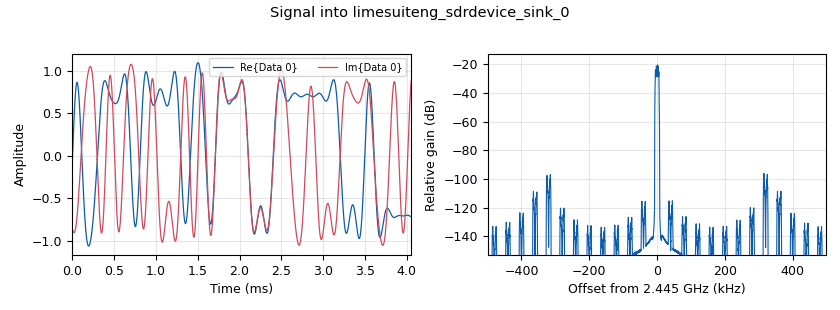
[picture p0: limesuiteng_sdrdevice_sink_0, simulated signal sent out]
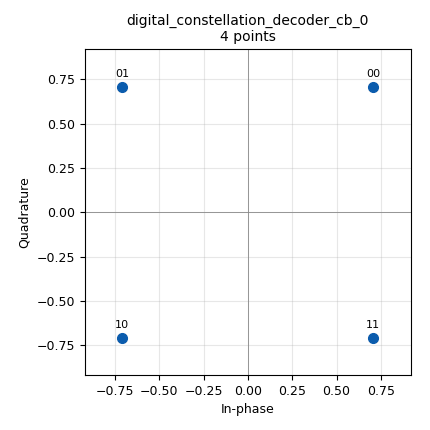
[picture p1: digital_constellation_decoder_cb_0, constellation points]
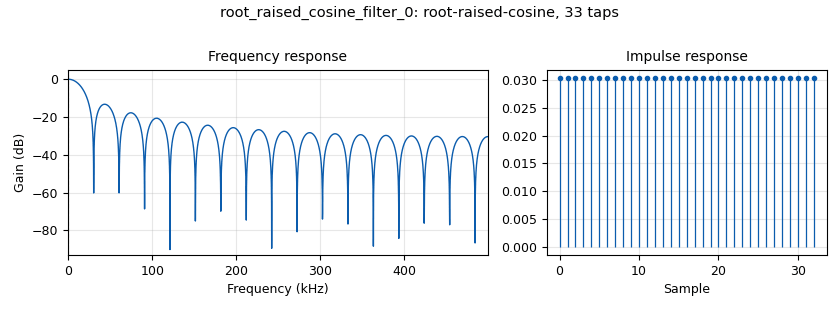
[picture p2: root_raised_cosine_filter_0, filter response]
options:
  parameters:
    generate_options: qt_gui
    id: top_block
    output_language: python
  states: {}

blocks:
- name: alpha
  id: variable_qtgui_range
  parameters:
    comment: 0,1,1,1
    gui_hint: 8,1,1,1
    label: RRC alpha
    start: '0'
    step: '0.0001'
    stop: '2'
    value: '0.35'
  states: {}
- name: center_freq
  id: variable_qtgui_range
  parameters:
    gui_hint: 2,0,1,1
    label: Center Frequency
    start: 2.438e9
    step: '1000'
    stop: 2.450e9
    value: 2.445e9
  states: {}
- name: decimation
  id: variable_qtgui_range
  parameters:
    comment: 0,2,1,1
    gui_hint: 9,1,1,1
    label: RRC Decimation
    rangeType: int
    start: '1'
    step: '1'
    stop: '8'
    value: '1'
  states: {}
- name: delay
  id: variable_qtgui_range
  parameters:
    comment: 0,3,1,1
    gui_hint: 5,1,1,1
    label: Delay
    rangeType: int
    start: '0'
    step: '1'
    stop: '10000'
    value: '12'
  states: {}
- name: eb
  id: variable
  parameters:
    value: '0.25'
  states: {}
- name: excess_bw
  id: variable
  parameters:
    value: '0.35'
  states: {}
- name: freq_offset
  id: variable_qtgui_range
  parameters:
    comment: 0,2,1,1
    gui_hint: 4,1,1,1
    label: 'Channel: Frequency Offset'
    start: '-0.1'
    step: '0.001'
    stop: '0.1'
    value: '0'
  states: {}
- name: fsk_deviation_hz
  id: variable
  parameters:
    value: 100e3
  states: {}
- name: nfilts
  id: variable
  parameters:
    value: '32'
  states: {}
- name: noise_volt
  id: variable_qtgui_range
  parameters:
    comment: 0,0,1,1
    gui_hint: 2,1,1,1
    label: 'Channel: Noise Voltage'
    start: '0'
    step: '0.01'
    stop: '1'
    value: '0.2'
  states: {}
- name: ntaps
  id: variable
  parameters:
    value: '32'
  states: {}
- name: qpsk
  id: variable_constellation_rect
  parameters:
    const_points: '[0.707+0.707j, -0.707+0.707j, -0.707-0.707j, 0.707-0.707j]'
    imag_sect: '2'
    real_sect: '2'
    rot_sym: '4'
    sym_map: '[0, 1, 2, 3]'
    w_imag_sect: '1'
    w_real_sect: '1'
  states: {}
- name: rrc_taps
  id: variable_qtgui_range
  parameters:
    comment: 0,0,1,1
    gui_hint: 7,1,1,1
    label: RRC taps
    rangeType: int
    start: '0'
    step: '1'
    stop: '512'
    value: '32'
  states: {}
- name: rx_gain
  id: variable_qtgui_range
  parameters:
    gui_hint: 5,0,1,1
    label: Rx Gain
    rangeType: int
    start: '0'
    step: '1'
    stop: '60'
    value: '30'
  states: {}
- name: rx_scale
  id: variable_qtgui_range
  parameters:
    comment: 0,3,1,1
    gui_hint: 6,1,1,1
    label: RX Scale
    start: '-50'
    step: '1'
    stop: '50'
    value: '1'
  states: {}
- name: samp_rate
  id: variable
  parameters:
    value: 1e6
  states: {}
- name: signal_bandwidth
  id: variable
  parameters:
    comment: |-
      Adjust this value to set the 
      bandwidth of the signal
    value: 10e3
  states: {}
- name: sps
  id: variable
  parameters:
    value: int(samp_rate/signal_bandwidth)
  states: {}
- name: time_offset
  id: variable_qtgui_range
  parameters:
    comment: 0,1,1,1
    gui_hint: 3,1,1,1
    label: 'Channel: Timing Offset'
    start: '0.999'
    step: '0.0001'
    stop: '1.001'
    value: '1.000'
  states: {}
- name: tone_freq_offset
  id: variable_qtgui_range
  parameters:
    gui_hint: 3,0,1,1
    label: Offset Frequency
    start: '-samp_rate/2'
    step: '200'
    stop: samp_rate/2
    value: '0'
  states: {}
- name: tx_gain
  id: variable_qtgui_range
  parameters:
    gui_hint: 4,0,1,1
    label: Tx Gain
    rangeType: int
    start: '0'
    step: '1'
    stop: '60'
    value: '20'
  states: {}
- name: variable_adaptive_algorithm_0
  id: variable_adaptive_algorithm
  parameters:
    cons: qpsk
    modulus: '4'
    step_size: '.0001'
    type: cma
  states: {}
- name: analog_agc_xx_0
  id: analog_agc_xx
  parameters:
    gain: '1.0'
    max_gain: '65536'
    rate: '50e-6'
    reference: '1.0'
    type: complex
  states: {}
- name: analog_agc_xx_0_0
  id: analog_agc_xx
  parameters:
    gain: '1.0'
    max_gain: '65536'
    rate: '50e-6'
    reference: '1.0'
    type: complex
  states: {}
- name: analog_agc_xx_0_0_0
  id: analog_agc_xx
  parameters:
    gain: '1.0'
    max_gain: '65536'
    rate: '50e-6'
    reference: '1.0'
    type: complex
  states: {}
- name: analog_const_source_x_0
  id: analog_const_source_x
  parameters:
    const: '-83'
    type: byte
  states: {state: disabled}
- name: analog_random_source_x_0
  id: analog_random_source_x
  parameters:
    max: '4'
    min: '0'
    num_samps: '50000'
    repeat: 'True'
    type: byte
  states: {state: disabled}
- name: analog_random_source_x_1
  id: analog_random_source_x
  parameters:
    max: '256'
    min: '0'
    num_samps: '32'
    repeat: 'True'
    type: byte
  states: {}
- name: analog_sig_source_x_0
  id: analog_sig_source_x
  parameters:
    amp: '127'
    freq: 1e3
    offset: '0'
    phase: '0'
    samp_rate: samp_rate
    type: byte
    waveform: analog.GR_COS_WAVE
  states: {state: disabled}
- name: blocks_char_to_float_0_0
  id: blocks_char_to_float
  parameters:
    scale: '1'
  states: {}
- name: blocks_char_to_float_0_0_0
  id: blocks_char_to_float
  parameters:
    scale: '1'
  states: {}
- name: blocks_complex_to_mag_0
  id: blocks_complex_to_mag
  parameters: {}
  states: {}
- name: blocks_complex_to_mag_1
  id: blocks_complex_to_mag
  parameters: {}
  states: {}
- name: blocks_complex_to_mag_1_0
  id: blocks_complex_to_mag
  parameters: {}
  states: {}
- name: blocks_complex_to_mag_1_0_0
  id: blocks_complex_to_mag
  parameters: {}
  states: {}
- name: blocks_complex_to_mag_1_0_0_0
  id: blocks_complex_to_mag
  parameters: {}
  states: {}
- name: blocks_delay_0
  id: blocks_delay
  parameters:
    delay: int(delay)
    type: float
  states: {}
- name: blocks_delay_1
  id: blocks_delay
  parameters:
    delay: delay
    type: complex
  states: {}
- name: blocks_delay_1_0
  id: blocks_delay
  parameters:
    delay: delay
    type: complex
  states: {}
- name: blocks_delay_1_0_0
  id: blocks_delay
  parameters:
    delay: delay
    type: complex
  states: {}
- name: blocks_multiply_const_vxx_0
  id: blocks_multiply_const_vxx
  parameters:
    const: rx_scale
    type: complex
  states: {}
- name: blocks_throttle_0
  id: blocks_throttle
  parameters:
    samples_per_second: samp_rate
    type: byte
  states: {state: bypassed}
- name: blocks_unpack_k_bits_bb_0
  id: blocks_unpack_k_bits_bb
  parameters:
    k: '2'
  states: {}
- name: blocks_unpack_k_bits_bb_0_0
  id: blocks_unpack_k_bits_bb
  parameters:
    k: '8'
  states: {}
- name: channels_channel_model_0
  id: channels_channel_model
  parameters:
    comment: Epsilon is the time offset
    epsilon: time_offset
    freq_offset: freq_offset
    noise_voltage: noise_volt
    seed: '0'
    taps: '1'
  states: {state: disabled}
- name: digital_constellation_decoder_cb_0
  id: digital_constellation_decoder_cb
  parameters:
    constellation: qpsk
  states: {}
- name: digital_constellation_modulator_0
  id: digital_constellation_modulator
  parameters:
    constellation: qpsk
    differential: 'True'
    excess_bw: '0.35'
    samples_per_symbol: sps
  states: {}
- name: digital_costas_loop_cc_0
  id: digital_costas_loop_cc
  parameters:
    order: '4'
    w: '62.8e-3'
  states: {}
- name: digital_diff_decoder_bb_0
  id: digital_diff_decoder_bb
  parameters:
    coding: digital.DIFF_DIFFERENTIAL
    modulus: '4'
  states: {}
- name: digital_linear_equalizer_0
  id: digital_linear_equalizer
  parameters:
    alg: variable_adaptive_algorithm_0
    num_taps: '15'
    sps: '2'
  states: {}
- name: digital_map_bb_0
  id: digital_map_bb
  parameters:
    map: '[0, 1, 2, 3]'
  states: {}
- name: digital_symbol_sync_xx_0
  id: digital_symbol_sync_xx
  parameters:
    damping: '1.0'
    loop_bw: '0.0628'
    max_dev: '1.5'
    nfilters: '32'
    osps: '2'
    pfb_mf_taps: rrc_taps
    resamp_type: digital.IR_MMSE_8TAP
    sps: sps
    ted_gain: '1'
    ted_type: digital.TED_SIGNAL_TIMES_SLOPE_ML
    type: cc
  states: {}
- name: import_0
  id: import
  parameters:
    imports: from math import pi
  states: {}
- name: limesuiteng_sdrdevice_sink_0
  id: limesuiteng_sdrdevice_sink
  parameters:
    antenna: auto
    channel_indexes: '[0]'
    chip_index: '0'
    custom_config_file: ''
    data_format: fc32
    deviceHandleHint: ''
    gain_generic: tx_gain
    lpf: 15e6
    nco_offset: '0'
    rf_freq: center_freq
    rf_oversampling: auto
    sample_rate: samp_rate
  states: {}
- name: limesuiteng_sdrdevice_source_0
  id: limesuiteng_sdrdevice_source
  parameters:
    antenna: auto
    channel_indexes: '[0]'
    chip_index: '0'
    custom_config_file: ''
    data_format: fc32
    deviceHandleHint: ''
    gain_generic: rx_gain
    lpf: 15e6
    nco_offset: '0'
    rf_freq: center_freq
    rf_oversampling: auto
    sample_rate: samp_rate
  states: {}
- name: note_0
  id: note
  parameters:
    comment: |-
      This is an in-efficient way to generate a pulse 
      shaped waveform. It would be more efficient 
      to generate it at a lower/fixed sample rate, then 
      upsample to samp_rate before Tx.
    note: Read comments
  states: {}
- name: qtgui_const_sink_x_0
  id: qtgui_const_sink_x
  parameters:
    size: '1024'
    type: complex
    update_time: '0.5'
  states: {}
- name: qtgui_const_sink_x_0_0
  id: qtgui_const_sink_x
  parameters:
    size: '1024'
    type: complex
    update_time: '0.5'
  states: {}
- name: qtgui_freq_sink_x_0
  id: qtgui_freq_sink_x
  parameters:
    alpha1: '0.5'
    alpha2: '0.5'
    bw: samp_rate
    fc: center_freq
    fftsize: '2048'
    grid: 'True'
    gui_hint: 0,0,2,1
    label1: Tx
    label2: Rx
    nconnections: '2'
    showports: 'True'
    type: complex
    units: dBm
    update_time: '0.5'
  states: {}
- name: qtgui_time_sink_x_0
  id: qtgui_time_sink_x
  parameters:
    color1: red
    color2: blue
    marker1: '0'
    marker2: '4'
    nconnections: '2'
    size: '1024'
    srate: samp_rate
    style1: '0'
    style2: '0'
    type: float
    update_time: '0.5'
    ymin: '0'
  states: {}
- name: qtgui_time_sink_x_1
  id: qtgui_time_sink_x
  parameters:
    nconnections: '3'
    size: '2048'
    srate: samp_rate
    type: float
    ymax: '2'
    ymin: '0'
  states: {}
- name: qtgui_time_sink_x_1_0
  id: qtgui_time_sink_x
  parameters:
    nconnections: '3'
    size: '2048'
    srate: samp_rate
    type: float
    ymax: '2'
    ymin: '0'
  states: {}
- name: root_raised_cosine_filter_0
  id: root_raised_cosine_filter
  parameters:
    alpha: alpha
    decim: decimation
    gain: '1'
    ntaps: rrc_taps
    samp_rate: samp_rate
    sym_rate: sps
    type: fir_filter_ccf
  states: {}
- name: virtual_sink_0
  id: virtual_sink
  parameters:
    stream_id: r1
  states: {}
- name: virtual_sink_1
  id: virtual_sink
  parameters:
    stream_id: r2
  states: {}
- name: virtual_sink_2
  id: virtual_sink
  parameters:
    stream_id: t1
  states: {}
- name: virtual_source_0
  id: virtual_source
  parameters:
    stream_id: r1
  states: {}
- name: virtual_source_1
  id: virtual_source
  parameters:
    stream_id: r2
  states: {}
- name: virtual_source_2
  id: virtual_source
  parameters:
    stream_id: t1
  states: {}

connections:
- [analog_agc_xx_0, '0', blocks_complex_to_mag_1_0, '0']
- [analog_agc_xx_0, '0', digital_symbol_sync_xx_0, '0']
- [analog_agc_xx_0_0, '0', blocks_complex_to_mag_1_0_0, '0']
- [analog_agc_xx_0_0_0, '0', blocks_complex_to_mag_1_0_0_0, '0']
- [analog_const_source_x_0, '0', blocks_throttle_0, '0']
- [analog_random_source_x_1, '0', blocks_throttle_0, '0']
- [analog_sig_source_x_0, '0', blocks_throttle_0, '0']
- [blocks_char_to_float_0_0, '0', qtgui_time_sink_x_0, '0']
- [blocks_char_to_float_0_0_0, '0', blocks_delay_0, '0']
- [blocks_complex_to_mag_0, '0', qtgui_time_sink_x_1, '0']
- [blocks_complex_to_mag_1, '0', qtgui_time_sink_x_1, '1']
- [blocks_complex_to_mag_1_0, '0', qtgui_time_sink_x_1, '2']
- [blocks_complex_to_mag_1_0, '0', qtgui_time_sink_x_1_0, '0']
- [blocks_complex_to_mag_1_0_0, '0', qtgui_time_sink_x_1_0, '1']
- [blocks_complex_to_mag_1_0_0_0, '0', qtgui_time_sink_x_1_0, '2']
- [blocks_delay_0, '0', qtgui_time_sink_x_0, '1']
- [blocks_delay_1, '0', blocks_complex_to_mag_0, '0']
- [blocks_delay_1_0, '0', analog_agc_xx_0_0, '0']
- [blocks_delay_1_0_0, '0', analog_agc_xx_0_0_0, '0']
- [blocks_multiply_const_vxx_0, '0', blocks_complex_to_mag_1, '0']
- [blocks_throttle_0, '0', digital_constellation_modulator_0, '0']
- [blocks_throttle_0, '0', virtual_sink_2, '0']
- [blocks_unpack_k_bits_bb_0, '0', blocks_char_to_float_0_0, '0']
- [blocks_unpack_k_bits_bb_0_0, '0', blocks_char_to_float_0_0_0, '0']
- [channels_channel_model_0, '0', blocks_multiply_const_vxx_0, '0']
- [channels_channel_model_0, '0', qtgui_freq_sink_x_0, '1']
- [channels_channel_model_0, '0', root_raised_cosine_filter_0, '0']
- [digital_constellation_decoder_cb_0, '0', digital_diff_decoder_bb_0, '0']
- [digital_constellation_modulator_0, '0', blocks_delay_1_0_0, '0']
- [digital_constellation_modulator_0, '0', channels_channel_model_0, '0']
- [digital_constellation_modulator_0, '0', limesuiteng_sdrdevice_sink_0, '0']
- [digital_constellation_modulator_0, '0', qtgui_freq_sink_x_0, '0']
- [digital_costas_loop_cc_0, '0', digital_constellation_decoder_cb_0, '0']
- [digital_costas_loop_cc_0, '0', qtgui_const_sink_x_0, '0']
- [digital_diff_decoder_bb_0, '0', digital_map_bb_0, '0']
- [digital_linear_equalizer_0, '0', virtual_sink_0, '0']
- [digital_map_bb_0, '0', virtual_sink_1, '0']
- [digital_symbol_sync_xx_0, '0', digital_linear_equalizer_0, '0']
- [digital_symbol_sync_xx_0, '0', qtgui_const_sink_x_0_0, '0']
- [limesuiteng_sdrdevice_source_0, '0', blocks_delay_1, '0']
- [limesuiteng_sdrdevice_source_0, '0', blocks_delay_1_0, '0']
- [limesuiteng_sdrdevice_source_0, '0', blocks_multiply_const_vxx_0, '0']
- [limesuiteng_sdrdevice_source_0, '0', qtgui_freq_sink_x_0, '1']
- [limesuiteng_sdrdevice_source_0, '0', root_raised_cosine_filter_0, '0']
- [root_raised_cosine_filter_0, '0', analog_agc_xx_0, '0']
- [virtual_source_0, '0', digital_costas_loop_cc_0, '0']
- [virtual_source_1, '0', blocks_unpack_k_bits_bb_0, '0']
- [virtual_source_2, '0', blocks_unpack_k_bits_bb_0_0, '0']

metadata:
  file_format: 1
